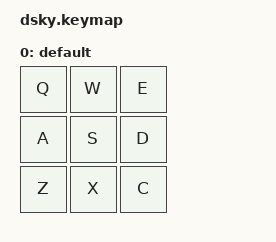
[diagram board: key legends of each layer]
#include <behaviors.dtsi>
#include <dt-bindings/zmk/keys.h>

/ {
    keymap {
        compatible = "zmk,keymap";
        default {
            bindings = <
                //  7       8           9
                &kp Q       &kp W       &kp E
                //  4       5           6
                &kp A       &kp S       &kp D
                //  1       2           3
                &kp Z       &kp X       &kp C
            >;
        };
    }
};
